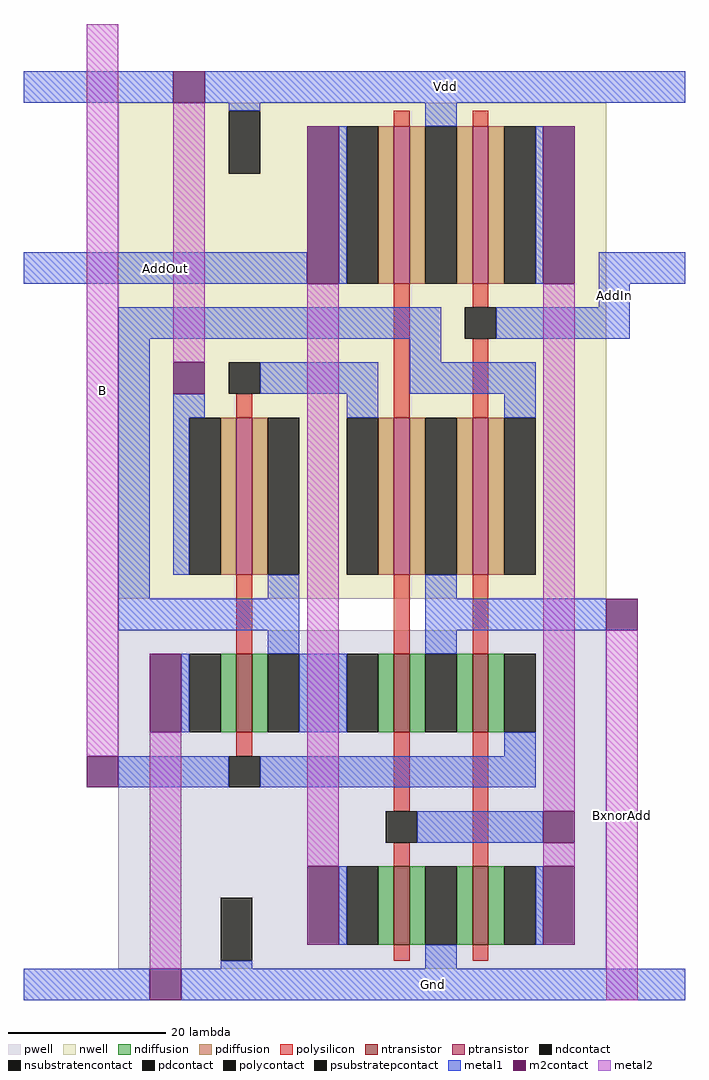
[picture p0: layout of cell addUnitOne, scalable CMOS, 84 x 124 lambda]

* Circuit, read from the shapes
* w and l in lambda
.subckt addUnitOne AddIn AddOut B BxnorAdd Gnd Vdd
M1 n1 B Gnd Gnd nfet w=10 l=2
M2 Gnd n2 AddOut Gnd nfet w=10 l=2
M3 BxnorAdd n2 n1 Gnd nfet w=10 l=2
M4 n2 AddIn Gnd Gnd nfet w=10 l=2
M5 B AddIn BxnorAdd Gnd nfet w=10 l=2
M6 n1 B Vdd Vdd pfet w=20 l=2
M7 BxnorAdd n2 B Vdd pfet w=20 l=2
M8 Vdd n2 AddOut Vdd pfet w=20 l=2
M9 n1 AddIn BxnorAdd Vdd pfet w=20 l=2
M10 n2 AddIn Vdd Vdd pfet w=20 l=2
.ends

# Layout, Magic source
magic
tech scmos
<< pwell >>
rect -39 -45 23 -2
<< nwell >>
rect -39 2 23 65
<< polysilicon >>
rect -4 62 -2 64
rect 6 62 8 64
rect -24 25 -22 28
rect -4 25 -2 42
rect 6 39 8 42
rect 6 25 8 35
rect -24 -5 -22 5
rect -4 -5 -2 5
rect 6 -5 8 5
rect -24 -18 -22 -15
rect -4 -25 -2 -15
rect -4 -32 -2 -29
rect 6 -32 8 -15
rect -4 -44 -2 -42
rect 6 -44 8 -42
<< ndiffusion >>
rect -26 -15 -24 -5
rect -22 -15 -20 -5
rect -6 -15 -4 -5
rect -2 -15 0 -5
rect 4 -15 6 -5
rect 8 -15 10 -5
rect -6 -42 -4 -32
rect -2 -42 0 -32
rect 4 -42 6 -32
rect 8 -42 10 -32
<< pdiffusion >>
rect -6 42 -4 62
rect -2 42 0 62
rect 4 42 6 62
rect 8 42 10 62
rect -26 5 -24 25
rect -22 5 -20 25
rect -6 5 -4 25
rect -2 5 0 25
rect 4 5 6 25
rect 8 5 10 25
<< metal1 >>
rect -51 65 -32 69
rect -28 65 33 69
rect -25 64 -21 65
rect 0 62 4 65
rect -51 42 -15 46
rect -11 42 -10 62
rect 14 42 15 62
rect 22 42 33 46
rect 22 39 26 42
rect -39 35 2 39
rect 9 35 26 39
rect -39 2 -35 35
rect -2 32 2 35
rect -21 28 -6 32
rect -2 28 14 32
rect -32 25 -28 28
rect -10 25 -6 28
rect 10 25 14 28
rect -32 5 -30 25
rect -20 2 -16 5
rect -39 -2 -16 2
rect -20 -5 -16 -2
rect 0 2 4 5
rect 0 -2 23 2
rect 0 -5 4 -2
rect -31 -15 -30 -5
rect -16 -15 -10 -5
rect 10 -18 14 -15
rect -39 -22 -25 -18
rect -21 -22 14 -18
rect -1 -29 15 -25
rect -11 -42 -10 -32
rect 14 -42 15 -32
rect -26 -45 -22 -44
rect 0 -45 4 -42
rect -51 -49 -35 -45
rect -31 -49 33 -45
<< metal2 >>
rect -43 -18 -39 75
rect -32 32 -28 65
rect -35 -45 -31 -15
rect -15 -32 -11 42
rect 15 -25 19 42
rect 15 -32 19 -29
rect 23 -49 27 -2
<< ntransistor >>
rect -24 -15 -22 -5
rect -4 -15 -2 -5
rect 6 -15 8 -5
rect -4 -42 -2 -32
rect 6 -42 8 -32
<< ptransistor >>
rect -4 42 -2 62
rect 6 42 8 62
rect -24 5 -22 25
rect -4 5 -2 25
rect 6 5 8 25
<< polycontact >>
rect -25 28 -21 32
rect 5 35 9 39
rect -25 -22 -21 -18
rect -5 -29 -1 -25
<< ndcontact >>
rect -30 -15 -26 -5
rect -20 -15 -16 -5
rect -10 -15 -6 -5
rect 0 -15 4 -5
rect 10 -15 14 -5
rect -10 -42 -6 -32
rect 0 -42 4 -32
rect 10 -42 14 -32
<< pdcontact >>
rect -10 42 -6 62
rect 0 42 4 62
rect 10 42 14 62
rect -30 5 -26 25
rect -20 5 -16 25
rect -10 5 -6 25
rect 0 5 4 25
rect 10 5 14 25
<< m2contact >>
rect -32 65 -28 69
rect -15 42 -11 62
rect 15 42 19 62
rect -32 28 -28 32
rect 23 -2 27 2
rect -35 -15 -31 -5
rect -43 -22 -39 -18
rect 15 -29 19 -25
rect -15 -42 -11 -32
rect 15 -42 19 -32
rect -35 -49 -31 -45
<< psubstratepcontact >>
rect -26 -44 -22 -36
<< nsubstratencontact >>
rect -25 56 -21 64
<< labels >>
rlabel metal1 -28 65 33 69 1 Vdd
rlabel metal2 -43 -18 -39 75 1 B
rlabel metal1 -31 -49 33 -45 1 Gnd
rlabel metal1 22 35 26 46 1 AddIn
rlabel metal1 -51 42 -15 46 1 AddOut
rlabel metal2 23 -49 27 -2 1 BxnorAdd
<< end >>
